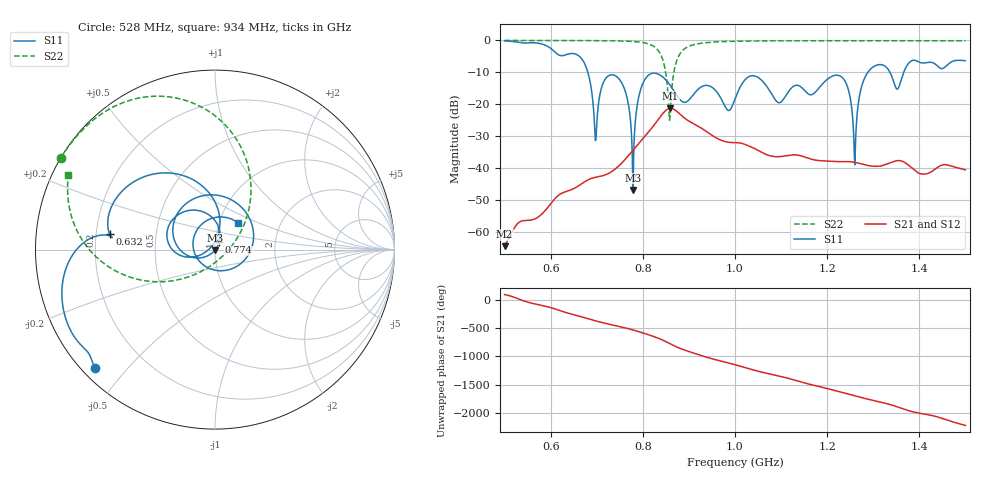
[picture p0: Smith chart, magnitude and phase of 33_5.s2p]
! TOUCHSTONE file generated by CST MICROWAVE STUDIO
! Date and time: Mon Nov 30 08:10:00 2020
! Project name: Scenario_1_Planar_Body_Tissue_Out_of_Line.cst
! Parameters = {dy1=207.6; L_HA=400; Ltissue=700; MT=2.54; Rad_Dielectric=30; Rad_Lower=7.3; Rad_Upper=30; Wtissue=700; a_HA=580; a_WG=246; b_HA=500; b_WG=121; c_HA=0; c_WG=187; d_feed=85; dx1=866; h_feed=15; h_lower=18; h_upper=40; hfat=3; hgap=25; hmuscle=50; hskin=1.5}
! Header version: 2018
! Port assignment regex: !\s*Touchstone port\s*([0-9]+)\s*=\s*(CST MWS port|CST DS port)\s*([0-9]+|Zmin|Zmax)\s*\(\"(.*)\"\)(\s*mode\s*([0-9]+))?.*
! Touchstone port assignment:
! Touchstone port 1 = CST MWS port 1 ("")
! Touchstone port 2 = CST MWS port 2 ("")
# GHz S DB R 50
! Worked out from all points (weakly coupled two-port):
!   1003 points, 500 MHz to 1.5 GHz, reference 50 ohm
!   highest |S21| = -21.28 dB at 860 MHz (marker M1); lowest = -64.4 dB at 500 MHz (marker M2)
!   lowest |S11| = -46.8 dB at 779 MHz (marker M3), VSWR 1.01, Z = 49.8 - j0.43 ohm
!   |S11| at or under -10 dB: 680.7 MHz to 1.288 GHz (607.6 MHz wide, 61.7 % of centre); 1.336 GHz to 1.366 GHz (29.74 MHz wide, 2.2 % of centre)
!   |S22| runs from -25.0 to 0.0 dB; largest |S21 - S12| = 2e-05
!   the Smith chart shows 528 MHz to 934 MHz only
!   S11 on the Smith chart (normalised r, x): 528 MHz: 0.04, -0.41; 632 MHz: 0.26, +0.07; 774 MHz: 1.04, +0.09; 934 MHz: 1.23, +0.38
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0.5  -0.11 -122.1  -64.43 94.7  -64.43 94.7  -0.01 151.2
0.528  -0.54 -135.3  -57.41 24.2  -57.41 24.2  -0.01 149.3
0.632  -4.54 171.6  -47.39 139.5  -47.39 139.5  -0.03 141.6
0.667  -5.70 124.6  -44.90 61.5  -44.90 61.5  -0.04 138.4
0.697  -31.36 125.0  -42.87 -10.0  -42.87 -10.0  -0.06 135.2
0.737  -10.84 141.0  -40.61 -87.0  -40.61 -87.0  -0.13 129.8
0.763  -16.45 87.0  -37.02 -136.6  -37.02 -136.6  -0.22 124.8
0.774  -26.47 60.4  -35.19 -160.4  -35.19 -160.4  -0.30 122.1
0.779  -46.80 -109.5  -34.35 -171.8  -34.35 -171.8  -0.34 120.7
0.798  -14.20 -179.8  -31.13 141.8  -31.13 141.8  -0.62 113.7
0.834  -10.58 76.3  -24.64 41.3  -24.64 41.3  -3.28 84.3
0.86  -14.19 -3.9  -21.28 -59.2  -21.28 -59.2  -21.41 -99.9
0.88  -18.42 -79.0  -23.03 -135.0  -23.03 -135.0  -4.31 -171.6
0.934  -14.13 49.7  -28.13 77.6  -28.13 77.6  -0.76 153.2
1  -18.32 115.8  -32.01 -64.5  -32.01 -64.5  -0.27 140.3
1.037  -11.05 -10.7  -33.48 -151.7  -33.48 -151.7  -0.19 135.8
1.167  -16.96 179.5  -37.24 -61.6  -37.24 -61.6  -0.10 124.2
1.232  -11.51 -2.1  -37.93 166.3  -37.93 166.3  -0.08 119.2
1.26  -38.98 -167.1  -38.18 104.2  -38.18 104.2  -0.09 117.1
1.284  -11.00 59.4  -39.02 53.4  -39.02 53.4  -0.08 115.3
1.334  -9.40 -20.9  -38.50 -44.5  -38.50 -44.5  -0.08 111.5
1.5  -6.34 -45.6  -40.53 -59.3  -40.53 -59.3  -0.13 98.0
